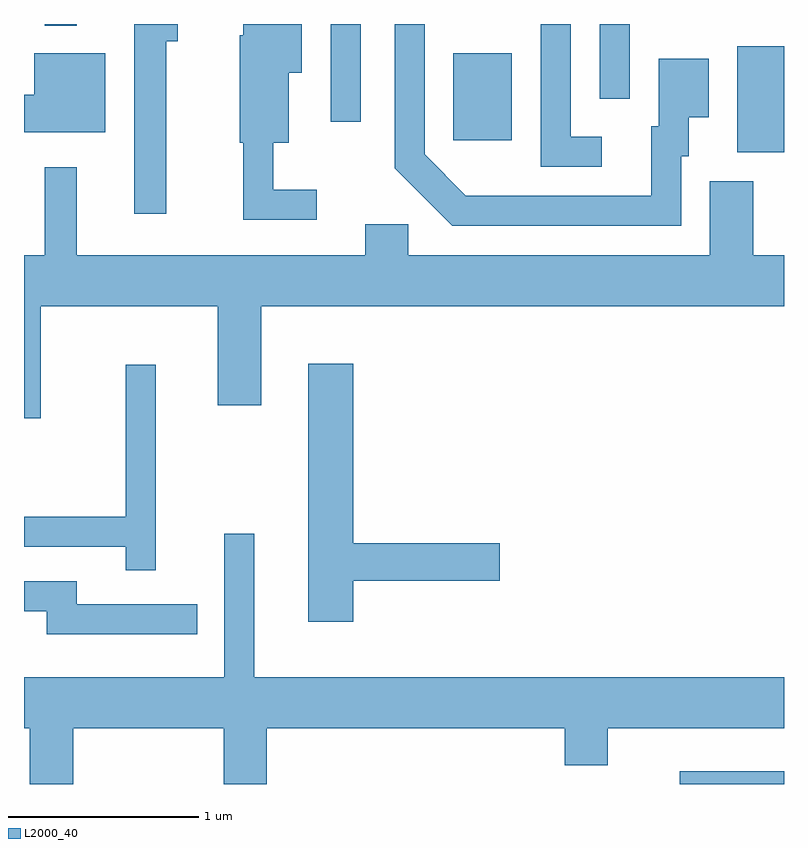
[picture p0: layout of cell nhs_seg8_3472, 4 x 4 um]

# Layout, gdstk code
import gdstk
lib = gdstk.Library(unit=1e-6, precision=1e-09)
def R(c, l, rs):  # rectangles x0, y0, x1, y1
    for r in rs: c.add(gdstk.rectangle(r[:2], r[2:], *l))
def P(c, l, *ps):  # polygons
    for p in ps: c.add(gdstk.Polygon(p, *l))
L2000_40 = (2000, 40)

nhs_seg8_3472 = lib.new_cell('nhs_seg8_3472')
R(nhs_seg8_3472, L2000_40, [(293.061,1838.342,293.611,1838.409), (293.366,1841.666,293.611,1842.224), (291.871,1841.731,292.179,1842.189), (291.226,1841.828,291.384,1842.342), (292.641,1841.948,292.799,1842.342), (289.721,1842.333,289.889,1842.342)])
P(nhs_seg8_3472, L2000_40, [(291.153,1841.469),(290.924,1841.469),(290.924,1841.716),(291.004,1841.716),(291.004,1842.086),(291.074,1842.086),(291.074,1842.342),(290.766,1842.342),(290.766,1842.284),(290.746,1842.284),(290.746,1841.716),(290.766,1841.716),(290.766,1841.311),(291.153,1841.311)],
  [(292.653,1841.749),(292.489,1841.749),(292.489,1842.342),(292.331,1842.342),(292.331,1841.591),(292.653,1841.591)],
  [(293.069,1841.646),(293.109,1841.646),(293.109,1841.851),(293.214,1841.851),(293.214,1842.159),(292.951,1842.159),(292.951,1841.804),(292.911,1841.804),(292.911,1841.439),(291.937,1841.439),(291.719,1841.657),(291.719,1842.342),(291.561,1842.342),(291.561,1841.584),(291.864,1841.281),(293.069,1841.281)],
  [(290.359,1842.251),(290.419,1842.251),(290.419,1842.342),(290.191,1842.342),(290.191,1841.343),(290.359,1841.343)],
  [(290.039,1842.189),(289.666,1842.189),(289.666,1841.969),(289.611,1841.969),(289.611,1841.771),(290.039,1841.771)],
  [(289.889,1841.588),(289.721,1841.588),(289.721,1841.124),(289.611,1841.124),(289.611,1840.266),(289.699,1840.266),(289.699,1840.856),(290.631,1840.856),(290.631,1840.336),(290.859,1840.336),(290.859,1840.856),(293.611,1840.856),(293.611,1841.124),(293.449,1841.124),(293.449,1841.514),(293.221,1841.514),(293.221,1841.124),(291.634,1841.124),(291.634,1841.289),(291.406,1841.289),(291.406,1841.124),(289.889,1841.124)],
  [(291.344,1839.411),(292.114,1839.411),(292.114,1839.609),(291.344,1839.609),(291.344,1840.554),(291.106,1840.554),(291.106,1839.196),(291.344,1839.196)],
  [(290.304,1840.548),(290.146,1840.548),(290.146,1839.749),(289.611,1839.749),(289.611,1839.591),(290.146,1839.591),(290.146,1839.468),(290.304,1839.468)],
  [(289.869,1838.636),(290.661,1838.636),(290.661,1838.342),(290.889,1838.342),(290.889,1838.636),(292.456,1838.636),(292.456,1838.441),(292.684,1838.441),(292.684,1838.636),(293.611,1838.636),(293.611,1838.904),(290.824,1838.904),(290.824,1839.658),(290.666,1839.658),(290.666,1838.904),(289.611,1838.904),(289.611,1838.636),(289.641,1838.636),(289.641,1838.342),(289.869,1838.342)],
  [(290.523,1839.289),(289.889,1839.289),(289.889,1839.409),(289.611,1839.409),(289.611,1839.251),(289.731,1839.251),(289.731,1839.131),(290.523,1839.131)])

lib.write_gds('nhs_seg8_3472.gds')
